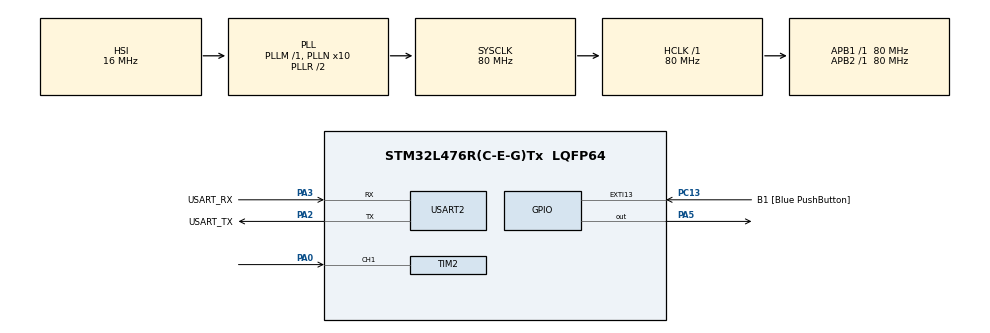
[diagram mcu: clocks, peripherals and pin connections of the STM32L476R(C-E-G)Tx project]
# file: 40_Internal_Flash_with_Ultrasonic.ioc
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Mcu.Family=STM32L4
Mcu.Name=STM32L476R(C-E-G)Tx
Mcu.Package=LQFP64
NVIC.PriorityGroup=NVIC_PRIORITYGROUP_4
NVIC.TIM2_IRQn=true\:0\:0\:false\:false\:true\:true\:true\:true
PA0.Signal=S_TIM2_CH1
PA13\ (JTMS-SWDIO).GPIO_Label=TMS
PA13\ (JTMS-SWDIO).Mode=Serial_Wire
PA13\ (JTMS-SWDIO).Signal=SYS_JTMS-SWDIO
PA14\ (JTCK-SWCLK).GPIO_Label=TCK
PA14\ (JTCK-SWCLK).Mode=Serial_Wire
PA14\ (JTCK-SWCLK).Signal=SYS_JTCK-SWCLK
PA2.GPIO_Label=USART_TX
PA2.GPIO_Mode=GPIO_MODE_AF_PP
PA2.GPIO_PuPd=GPIO_NOPULL
PA2.GPIO_Speed=GPIO_SPEED_FREQ_VERY_HIGH
PA2.Mode=Asynchronous
PA2.Signal=USART2_TX
PA3.GPIO_Label=USART_RX
PA3.GPIO_Mode=GPIO_MODE_AF_PP
PA3.GPIO_PuPd=GPIO_NOPULL
PA3.GPIO_Speed=GPIO_SPEED_FREQ_VERY_HIGH
PA3.Mode=Asynchronous
PA3.Signal=USART2_RX
PA5.Signal=GPIO_Output
PB3\ (JTDO-TRACESWO).GPIO_Label=SWO
PB3\ (JTDO-TRACESWO).Signal=SYS_JTDO-SWO
PC13.GPIO_Label=B1 [Blue PushButton]
PC13.GPIO_ModeDefaultEXTI=GPIO_MODE_IT_FALLING
PC13.GPIO_PuPd=GPIO_NOPULL
PC13.Signal=GPXTI13
PC14-OSC32_IN\ (PC14).Mode=LSE-External-Oscillator
PC14-OSC32_IN\ (PC14).Signal=RCC_OSC32_IN
PC15-OSC32_OUT\ (PC15).Mode=LSE-External-Oscillator
PC15-OSC32_OUT\ (PC15).Signal=RCC_OSC32_OUT
PH0-OSC_IN\ (PH0).Signal=RCC_OSC_IN
PH1-OSC_OUT\ (PH1).Signal=RCC_OSC_OUT
ProjectManager.HeapSize=0x200
ProjectManager.StackSize=0x400
ProjectManager.TargetToolchain=STM32CubeIDE
RCC.ADCFreq_Value=64000000
RCC.AHBFreq_Value=80000000
RCC.APB1Freq_Value=80000000
RCC.APB1TimFreq_Value=80000000
RCC.APB2Freq_Value=80000000
RCC.APB2TimFreq_Value=80000000
RCC.CortexFreq_Value=80000000
RCC.HCLKFreq_Value=80000000
RCC.HSE_VALUE=8000000
RCC.HSI_VALUE=16000000
RCC.MSI_VALUE=4000000
RCC.PLLN=10
RCC.PLLSourceVirtual=RCC_PLLSOURCE_HSI
RCC.PREFETCH_ENABLE=1
RCC.SYSCLKFreq_VALUE=80000000
RCC.SYSCLKSource=RCC_SYSCLKSOURCE_PLLCLK
RCC.USBFreq_Value=64000000
RCC.VCOOutputFreq_Value=160000000
SH.S_TIM2_CH1.0=TIM2_CH1,Input_Capture1_from_TI1
TIM2.Channel-Input_Capture1_from_TI1=TIM_CHANNEL_1
USART2.VirtualMode-Asynchronous=VM_ASYNC
VP_TIM2_VS_ClockSourceINT.Mode=Internal
board=NUCLEO-L476RG

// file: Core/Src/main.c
/* USER CODE BEGIN Header */
/**
  ******************************************************************************
  * @file           : main.c
  * @brief          : Main program body
  ******************************************************************************
  * @attention
  *
  * Copyright (c) 2025 STMicroelectronics.
  * All rights reserved.
  *
  * This software is licensed under terms that can be found in the LICENSE file
  * in the root directory of this software component.
  * If no LICENSE file comes with this software, it is provided AS-IS.
  *
  ******************************************************************************
  */
/* USER CODE END Header */
#include "main.h"
#include <stdio.h>
#include <string.h>
#include <stdlib.h>
/* USER CODE BEGIN Includes */
// Flash memory configuration
#define FLASH_USER_START_ADDR  0x080FF800UL   // Flash page start address
#define FLASH_PAGE_SIZE        2048           // Page size = 2 KB
#define NUM_SLOTS              (FLASH_PAGE_SIZE / 8) // Each write = 8 bytes (doubleword)

// Ultrasonic capture variables
uint32_t ic_val1 = 0;
uint32_t ic_val2 = 0;
uint32_t diff = 0;
uint8_t is_first_capture = 0;
uint32_t distance_cm = 0;

/* USER CODE END Includes */

TIM_HandleTypeDef htim2;

UART_HandleTypeDef huart2;

/* USER CODE BEGIN PV */
// Send trigger pulse to HC-SR04 (10 µs high)
void HCSR04_Trigger(void)
{
  HAL_GPIO_WritePin(GPIOA, GPIO_PIN_1, GPIO_PIN_SET);
  for (volatile int i = 0; i < 160; i++);   // crude ~10 µs delay
  HAL_GPIO_WritePin(GPIOA, GPIO_PIN_1, GPIO_PIN_RESET);
}

// Start measurement: reset capture flag and send trigger
void Start_HCSR04(void)
{
  is_first_capture = 0;
  HAL_TIM_IC_Start_IT(&htim2, TIM_CHANNEL_1); // Enable input capture interrupt
  HCSR04_Trigger();
}

// Timer interrupt callback for measuring echo pulse width
void HAL_TIM_IC_CaptureCallback(TIM_HandleTypeDef *htim)
{
  if (htim->Channel == HAL_TIM_ACTIVE_CHANNEL_1)
  {
    if (is_first_capture == 0)  // Rising edge (echo start)
    {
      ic_val1 = HAL_TIM_ReadCapturedValue(htim, TIM_CHANNEL_1);
      __HAL_TIM_SET_CAPTUREPOLARITY(htim, TIM_CHANNEL_1, TIM_INPUTCHANNELPOLARITY_FALLING);
      is_first_capture = 1;
    }
    else if (is_first_capture == 1) // Falling edge (echo end)
    {
      ic_val2 = HAL_TIM_ReadCapturedValue(htim, TIM_CHANNEL_1);
      __HAL_TIM_SET_CAPTUREPOLARITY(htim, TIM_CHANNEL_1, TIM_INPUTCHANNELPOLARITY_RISING);
      HAL_TIM_IC_Stop_IT(htim, TIM_CHANNEL_1);

      // Compute pulse duration
      if (ic_val2 > ic_val1)
        diff = ic_val2 - ic_val1;
      else
        diff = (0xFFFF - ic_val1 + ic_val2);

      // Convert duration to distance (cm)
      distance_cm = (float)diff * 0.0343 / 2.0;
    }
  }
}

// Write one 32-bit value to flash
void Flash_Write(uint32_t addr, uint32_t data)
{
    HAL_FLASH_Unlock();
    uint64_t data64 = data;  // must write doubleword (64-bit)
    HAL_FLASH_Program(FLASH_TYPEPROGRAM_DOUBLEWORD, addr, data64);
    HAL_FLASH_Lock();
}

// Read 32-bit value from flash
uint32_t Flash_Read(uint32_t addr)
{
    return *(uint32_t*)addr;
}

// Erase one flash page
void Flash_Erase_Page(uint32_t pageAddr)
{
    HAL_FLASH_Unlock();
    FLASH_EraseInitTypeDef eraseInit;
    uint32_t pageError = 0;

    eraseInit.TypeErase = FLASH_TYPEERASE_PAGES;
    eraseInit.Page = (pageAddr - FLASH_BASE) / FLASH_PAGE_SIZE;
    eraseInit.NbPages = 1;
    eraseInit.Banks = FLASH_BANK_2;

    HAL_FLASHEx_Erase(&eraseInit, &pageError);
    HAL_FLASH_Lock();
}

/* USER CODE END PV */

void SystemClock_Config(void);
static void MX_GPIO_Init(void);
static void MX_USART2_UART_Init(void);
static void MX_TIM2_Init(void);

int main(void)
{

  /* MCU Configuration--------------------------------------------------------*/

  /* Reset of all peripherals, Initializes the Flash interface and the Systick. */
  HAL_Init();

  /* Configure the system clock */
  SystemClock_Config();

  /* Initialize all configured peripherals */
  MX_GPIO_Init();
  MX_USART2_UART_Init();
  MX_TIM2_Init();

  /* Infinite loop */
  /* USER CODE BEGIN WHILE */

  char msg[64];
  uint32_t addr = FLASH_USER_START_ADDR;
  Flash_Erase_Page(FLASH_USER_START_ADDR); // erase before writing

  while (1)
  {
    Start_HCSR04();
    for (volatile int i = 0; i < 10000; i++);  // short delay for capture

    // Print measured distance over UART
    snprintf(msg, sizeof(msg), "Measured Distance: %lu cm\r\n", distance_cm);
    HAL_UART_Transmit(&huart2, (uint8_t*)msg, strlen(msg), HAL_MAX_DELAY);

    // Store distance to flash
    Flash_Write(addr, distance_cm);

    // Read back and print from flash
    uint32_t readData = Flash_Read(addr);
    snprintf(msg, sizeof(msg), "Sensor: %lu, Addr: 0x%08lX\r\n", readData, addr);
    HAL_UART_Transmit(&huart2, (uint8_t*)msg, strlen(msg), HAL_MAX_DELAY);

    // Move to next slot, wrap if needed
    addr += 8;
    if(addr >= FLASH_USER_START_ADDR + FLASH_PAGE_SIZE)
    {
        Flash_Erase_Page(FLASH_USER_START_ADDR);
        addr = FLASH_USER_START_ADDR;
    }

    HAL_Delay(500);  // wait between measurements
  }
  /* USER CODE END 3 */
}

void SystemClock_Config(void)
{
  RCC_OscInitTypeDef RCC_OscInitStruct = {0};
  RCC_ClkInitTypeDef RCC_ClkInitStruct = {0};

  /** Configure the main internal regulator output voltage
  */
  if (HAL_PWREx_ControlVoltageScaling(PWR_REGULATOR_VOLTAGE_SCALE1) != HAL_OK)
  {
    Error_Handler();
  }

  /** Initializes the RCC Oscillators according to the specified parameters
  * in the RCC_OscInitTypeDef structure.
  */
  RCC_OscInitStruct.OscillatorType = RCC_OSCILLATORTYPE_HSI;
  RCC_OscInitStruct.HSIState = RCC_HSI_ON;
  RCC_OscInitStruct.HSICalibrationValue = RCC_HSICALIBRATION_DEFAULT;
  RCC_OscInitStruct.PLL.PLLState = RCC_PLL_ON;
  RCC_OscInitStruct.PLL.PLLSource = RCC_PLLSOURCE_HSI;
  RCC_OscInitStruct.PLL.PLLM = 1;
  RCC_OscInitStruct.PLL.PLLN = 10;
  RCC_OscInitStruct.PLL.PLLP = RCC_PLLP_DIV7;
  RCC_OscInitStruct.PLL.PLLQ = RCC_PLLQ_DIV2;
  RCC_OscInitStruct.PLL.PLLR = RCC_PLLR_DIV2;
  if (HAL_RCC_OscConfig(&RCC_OscInitStruct) != HAL_OK)
  {
    Error_Handler();
  }

  /** Initializes the CPU, AHB and APB buses clocks
  */
  RCC_ClkInitStruct.ClockType = RCC_CLOCKTYPE_HCLK|RCC_CLOCKTYPE_SYSCLK
                              |RCC_CLOCKTYPE_PCLK1|RCC_CLOCKTYPE_PCLK2;
  RCC_ClkInitStruct.SYSCLKSource = RCC_SYSCLKSOURCE_PLLCLK;
  RCC_ClkInitStruct.AHBCLKDivider = RCC_SYSCLK_DIV1;
  RCC_ClkInitStruct.APB1CLKDivider = RCC_HCLK_DIV1;
  RCC_ClkInitStruct.APB2CLKDivider = RCC_HCLK_DIV1;

  if (HAL_RCC_ClockConfig(&RCC_ClkInitStruct, FLASH_LATENCY_4) != HAL_OK)
  {
    Error_Handler();
  }
}

static void MX_TIM2_Init(void)
{

  TIM_ClockConfigTypeDef sClockSourceConfig = {0};
  TIM_MasterConfigTypeDef sMasterConfig = {0};
  TIM_IC_InitTypeDef sConfigIC = {0};

  htim2.Instance = TIM2;
  htim2.Init.Prescaler = 0;
  htim2.Init.CounterMode = TIM_COUNTERMODE_UP;
  htim2.Init.Period = 4294967295;
  htim2.Init.ClockDivision = TIM_CLOCKDIVISION_DIV1;
  htim2.Init.AutoReloadPreload = TIM_AUTORELOAD_PRELOAD_DISABLE;
  if (HAL_TIM_Base_Init(&htim2) != HAL_OK)
  {
    Error_Handler();
  }
  sClockSourceConfig.ClockSource = TIM_CLOCKSOURCE_INTERNAL;
  if (HAL_TIM_ConfigClockSource(&htim2, &sClockSourceConfig) != HAL_OK)
  {
    Error_Handler();
  }
  if (HAL_TIM_IC_Init(&htim2) != HAL_OK)
  {
    Error_Handler();
  }
  sMasterConfig.MasterOutputTrigger = TIM_TRGO_RESET;
  sMasterConfig.MasterSlaveMode = TIM_MASTERSLAVEMODE_DISABLE;
  if (HAL_TIMEx_MasterConfigSynchronization(&htim2, &sMasterConfig) != HAL_OK)
  {
    Error_Handler();
  }
  sConfigIC.ICPolarity = TIM_INPUTCHANNELPOLARITY_RISING;
  sConfigIC.ICSelection = TIM_ICSELECTION_DIRECTTI;
  sConfigIC.ICPrescaler = TIM_ICPSC_DIV1;
  sConfigIC.ICFilter = 0;
  if (HAL_TIM_IC_ConfigChannel(&htim2, &sConfigIC, TIM_CHANNEL_1) != HAL_OK)
  {
    Error_Handler();
  }
  /* USER CODE BEGIN TIM2_Init 2 */
  // Configure input capture on CH1 (PA0)
    sConfigIC.ICPolarity = TIM_INPUTCHANNELPOLARITY_RISING;
    sConfigIC.ICSelection = TIM_ICSELECTION_DIRECTTI;
    sConfigIC.ICPrescaler = TIM_ICPSC_DIV1;
    sConfigIC.ICFilter = 0;
    HAL_TIM_IC_ConfigChannel(&htim2, &sConfigIC, TIM_CHANNEL_1);
  /* USER CODE END TIM2_Init 2 */

}

static void MX_USART2_UART_Init(void)
{

  huart2.Instance = USART2;
  huart2.Init.BaudRate = 115200;
  huart2.Init.WordLength = UART_WORDLENGTH_8B;
  huart2.Init.StopBits = UART_STOPBITS_1;
  huart2.Init.Parity = UART_PARITY_NONE;
  huart2.Init.Mode = UART_MODE_TX_RX;
  huart2.Init.HwFlowCtl = UART_HWCONTROL_NONE;
  huart2.Init.OverSampling = UART_OVERSAMPLING_16;
  huart2.Init.OneBitSampling = UART_ONE_BIT_SAMPLE_DISABLE;
  huart2.AdvancedInit.AdvFeatureInit = UART_ADVFEATURE_NO_INIT;
  if (HAL_UART_Init(&huart2) != HAL_OK)
  {
    Error_Handler();
  }

}

static void MX_GPIO_Init(void)
{
  GPIO_InitTypeDef GPIO_InitStruct = {0};

  /* GPIO Ports Clock Enable */
  __HAL_RCC_GPIOC_CLK_ENABLE();
  __HAL_RCC_GPIOH_CLK_ENABLE();
  __HAL_RCC_GPIOA_CLK_ENABLE();
  __HAL_RCC_GPIOB_CLK_ENABLE();

  /*Configure GPIO pin Output Level */
  HAL_GPIO_WritePin(GPIOA, GPIO_PIN_5, GPIO_PIN_RESET);

  /*Configure GPIO pin : B1_Pin */
  GPIO_InitStruct.Pin = B1_Pin;
  GPIO_InitStruct.Mode = GPIO_MODE_IT_FALLING;
  GPIO_InitStruct.Pull = GPIO_NOPULL;
  HAL_GPIO_Init(B1_GPIO_Port, &GPIO_InitStruct);

  /*Configure GPIO pin : PA5 */
  GPIO_InitStruct.Pin = GPIO_PIN_5;
  GPIO_InitStruct.Mode = GPIO_MODE_OUTPUT_PP;
  GPIO_InitStruct.Pull = GPIO_NOPULL;
  GPIO_InitStruct.Speed = GPIO_SPEED_FREQ_LOW;
  HAL_GPIO_Init(GPIOA, &GPIO_InitStruct);

}

void Error_Handler(void)
{
  __disable_irq();
  while (1)
  {
  }
}
